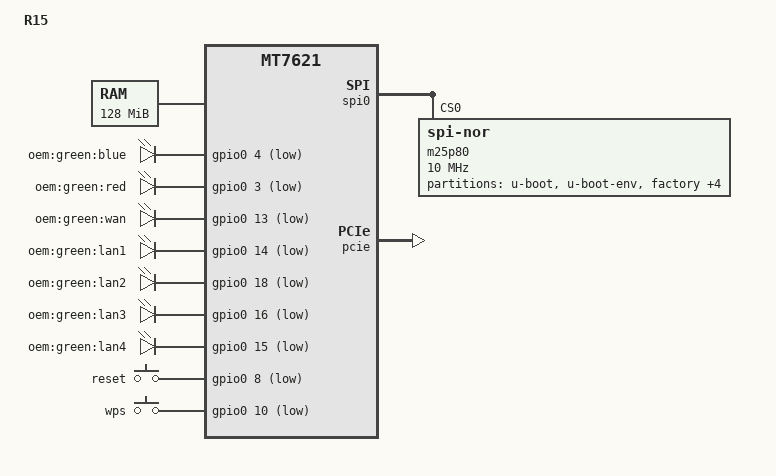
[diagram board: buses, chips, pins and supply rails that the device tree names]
/dts-v1/;

#include "mt7621.dtsi"

#include <dt-bindings/input/input.h>
#include <dt-bindings/gpio/gpio.h>

/ {
	compatible = "OEM,MT7621", "mediatek,mt7621-soc";
	model = "R15";

	memory@0 {
		device_type = "memory";
		reg = <0x0 0x8000000>;
	};

	chosen {
		bootargs = "console=ttyS0,115200";
	};

	gpio-leds {
		compatible = "gpio-leds";
		blue {
			label = "oem:green:blue";
			gpios = <&gpio0 4 GPIO_ACTIVE_LOW>;
		};

		red {
			label = "oem:green:red";
			gpios = <&gpio0 3 GPIO_ACTIVE_LOW>;
		};

		wan {
			label = "oem:green:wan";
			gpios = <&gpio0 13 GPIO_ACTIVE_LOW>;
		};

		lan1 {
			label = "oem:green:lan1";
			gpios = <&gpio0 14 GPIO_ACTIVE_LOW>;
		};

		lan2 {
			label = "oem:green:lan2";
			gpios = <&gpio0 18 GPIO_ACTIVE_LOW>;
		};

		lan3 {
			label = "oem:green:lan3";
			gpios = <&gpio0 16 GPIO_ACTIVE_LOW>;
		};

		lan4 {
			label = "oem:green:lan4";
			gpios = <&gpio0 15 GPIO_ACTIVE_LOW>;
		};
	};

	gpio-keys-polled {
		compatible = "gpio-keys-polled";
		#address-cells = <1>;
		#size-cells = <0>;
		poll-interval = <20>;

		reset {
			label = "reset";
			gpios = <&gpio0 8 GPIO_ACTIVE_LOW>;
			linux,code = <KEY_RESTART>;
		};

		wps {
			label = "wps";
			gpios = <&gpio0 10 GPIO_ACTIVE_LOW>;
			linux,code = <KEY_WPS_BUTTON>;
		};
	};
};

&ethernet {
	mtd-mac-address = <&bdinfo 0xDE00>;
	mediatek,port-map = "lllwl";
};

&spi0 {
	status = "okay";

	m25p80@0 {
		#address-cells = <1>;
		#size-cells = <1>;
		compatible = "jedec,spi-nor";
		reg = <0>;
		spi-max-frequency = <10000000>;
		m25p,chunked-io = <32>;

		partition@0 {
			label = "u-boot";
			reg = <0x0 0x30000>;
		};

		partition@30000 {
			label = "u-boot-env";
			reg = <0x30000 0x10000>;
		};

		factory: partition@40000 {
			label = "factory";
			reg = <0x40000 0x10000>;
		};

		debug: partition@fd0000 {
			label = "debug";
			reg = <0xfd0000 0x10000>;
		};

		backup: partition@fe0000 {
			label = "backup";
			reg = <0xfe0000 0x10000>;
		};

		bdinfo: partition@ff0000 {
			label = "bdinfo";
			reg = <0xff0000 0x10000>;
		};

		partition@50000 {
			label = "firmware";
			reg = <0x50000 0xf80000>;
		};
	};
};

&pcie {
	status = "okay";

	pcie0 {
		mt76@0,0 {
			reg = <0x0000 0 0 0 0>;
			device_type = "pci";
			mediatek,mtd-eeprom = <&factory 0x0000>;
			ieee80211-freq-limit = <2400000 2500000>;
		};
	};

	pcie1 {
		mt76@1,0 {
			reg = <0x0000 0 0 0 0>;
			device_type = "pci";
			mediatek,mtd-eeprom = <&factory 0x8000>;
			ieee80211-freq-limit = <5000000 6000000>;
		};
	};
};

&pinctrl {
	state_default: pinctrl0 {
		gpio {
			ralink,group = "wdt", "jtag";
			ralink,function = "gpio";
		};
	};
};
